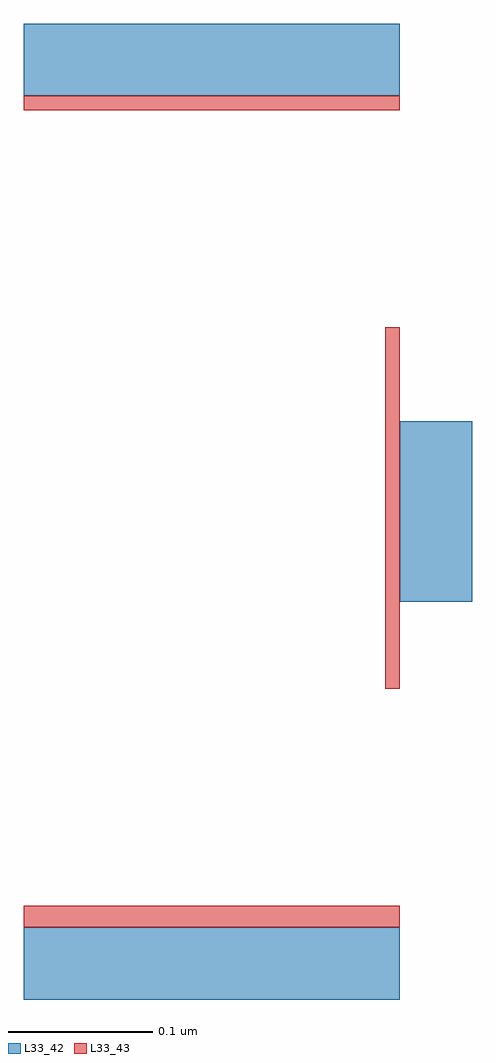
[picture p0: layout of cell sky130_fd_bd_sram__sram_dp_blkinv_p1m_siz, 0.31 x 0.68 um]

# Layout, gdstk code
import gdstk
lib = gdstk.Library(unit=1e-6, precision=1e-09)
def R(c, l, rs):  # rectangles x0, y0, x1, y1
    for r in rs: c.add(gdstk.rectangle(r[:2], r[2:], *l))
L33_42 = (33, 42)
L33_43 = (33, 43)

sky130_fd_bd_sram__sram_ = lib.new_cell('sky130_fd_bd_sram__sram_dp_swldrv_opt1_poly_siz_opta')
R(sky130_fd_bd_sram__sram_, L33_42, [(0,0.01,0.26,0.06)])
R(sky130_fd_bd_sram__sram_, L33_43, [(0,0,0.26,0.01)])

c_sky130_fd_bd_sram__sram_ = lib.new_cell('sky130_fd_bd_sram__sram_dp_swldrv_opt1_poly_siz_optb')
R(c_sky130_fd_bd_sram__sram_, L33_42, [(0,-0.065,0.26,-0.015)])
R(c_sky130_fd_bd_sram__sram_, L33_43, [(0,-0.015,0.26,0)])

c_sky130_fd_bd_sram__sram__ = lib.new_cell('sky130_fd_bd_sram__sram_dp_blkinv_p1m_siz')
R(c_sky130_fd_bd_sram__sram__, L33_42, [(2.605,0.24,2.655,0.365)])
R(c_sky130_fd_bd_sram__sram__, L33_43, [(2.595,0.18,2.605,0.415), (2.595,0.415,2.605,0.42), (2.595,0.42,2.605,0.43)])
c_sky130_fd_bd_sram__sram__.add(gdstk.Reference(sky130_fd_bd_sram__sram_, (2.345,0.58)))
c_sky130_fd_bd_sram__sram__.add(gdstk.Reference(c_sky130_fd_bd_sram__sram_, (2.345,0.03)))

lib.write_gds('sky130_fd_bd_sram__sram_dp_blkinv_p1m_siz.gds')
